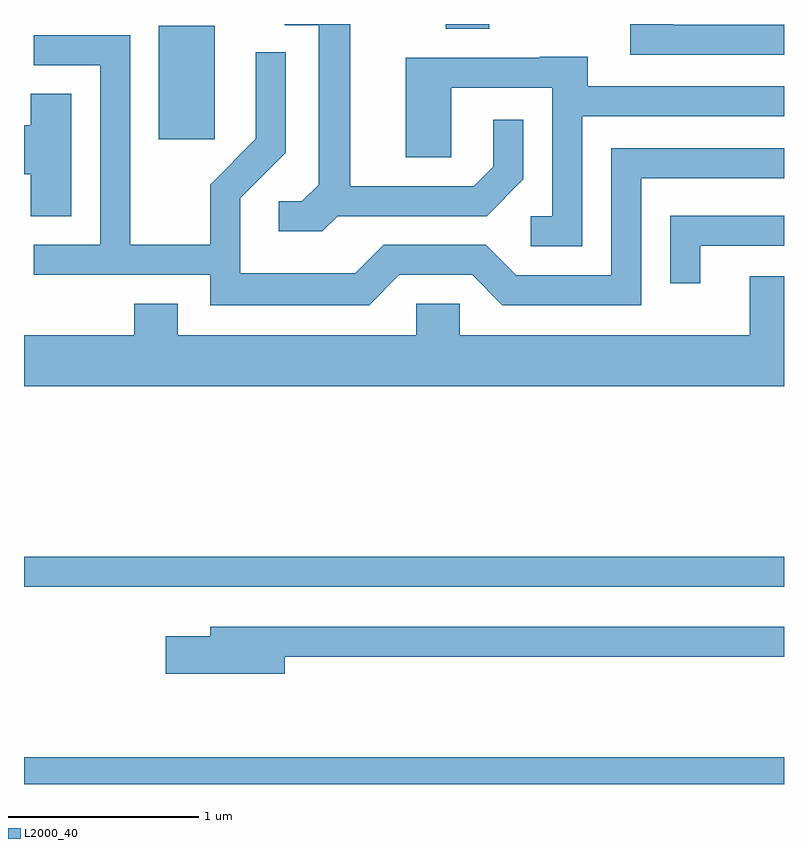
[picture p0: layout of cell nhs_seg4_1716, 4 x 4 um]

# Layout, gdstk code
import gdstk
lib = gdstk.Library(unit=1e-6, precision=1e-09)
def R(c, l, rs):  # rectangles x0, y0, x1, y1
    for r in rs: c.add(gdstk.rectangle(r[:2], r[2:], *l))
def P(c, l, *ps):  # polygons
    for p in ps: c.add(gdstk.Polygon(p, *l))
L2000_40 = (2000, 40)

nhs_seg4_1716 = lib.new_cell('nhs_seg4_1716')
R(nhs_seg4_1716, L2000_40, [(235.611,1285.982,239.611,1286.124), (235.611,1287.021,239.611,1287.179), (236.321,1289.376,236.614,1289.974), (237.831,1289.956,238.059,1289.982)])
P(nhs_seg4_1716, L2000_40, [(239.611,1289.979),(239.029,1289.979),(239.029,1289.982),(238.433,1289.982),(238.433,1289.981),(238.801,1289.981),(238.801,1289.821),(239.611,1289.821)],
  [(237.262,1288.971),(238.047,1288.971),(238.239,1289.164),(238.239,1289.478),(238.081,1289.478),(238.081,1289.232),(237.979,1289.129),(237.329,1289.129),(237.329,1289.982),(236.983,1289.982),(236.983,1289.976),(237.161,1289.976),(237.161,1289.137),(237.074,1289.049),(236.953,1289.049),(236.953,1288.891),(237.182,1288.891)],
  [(237.587,1288.661),(237.969,1288.661),(238.129,1288.501),(238.859,1288.501),(238.859,1289.171),(239.611,1289.171),(239.611,1289.329),(238.701,1289.329),(238.701,1288.659),(238.202,1288.659),(238.042,1288.819),(237.504,1288.819),(237.354,1288.669),(236.749,1288.669),(236.749,1289.064),(236.989,1289.304),(236.989,1289.833),(236.831,1289.833),(236.831,1289.377),(236.591,1289.137),(236.591,1288.819),(236.169,1288.819),(236.169,1289.924),(235.663,1289.924),(235.663,1289.766),(236.011,1289.766),(236.011,1288.819),(235.663,1288.819),(235.663,1288.661),(236.591,1288.661),(236.591,1288.501),(237.427,1288.501)],
  [(238.549,1289.496),(239.611,1289.496),(239.611,1289.654),(238.579,1289.654),(238.579,1289.809),(238.325,1289.809),(238.325,1289.804),(237.621,1289.804),(237.621,1289.281),(237.859,1289.281),(237.859,1289.646),(238.391,1289.646),(238.391,1288.969),(238.278,1288.969),(238.278,1288.811),(238.549,1288.811)],
  [(235.859,1289.614),(235.646,1289.614),(235.646,1289.449),(235.611,1289.449),(235.611,1289.191),(235.646,1289.191),(235.646,1288.971),(235.859,1288.971)],
  [(239.169,1288.816),(239.611,1288.816),(239.611,1288.974),(239.011,1288.974),(239.011,1288.618),(239.169,1288.618)],
  [(239.611,1288.654),(239.431,1288.654),(239.431,1288.344),(237.904,1288.344),(237.904,1288.509),(237.676,1288.509),(237.676,1288.344),(236.419,1288.344),(236.419,1288.509),(236.191,1288.509),(236.191,1288.344),(235.611,1288.344),(235.611,1288.076),(239.611,1288.076)],
  [(236.984,1286.651),(239.611,1286.651),(239.611,1286.809),(236.591,1286.809),(236.591,1286.759),(236.356,1286.759),(236.356,1286.561),(236.984,1286.561)])

lib.write_gds('nhs_seg4_1716.gds')
